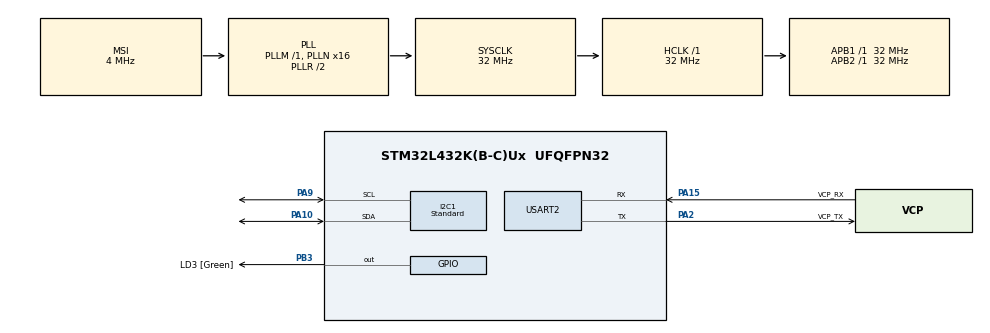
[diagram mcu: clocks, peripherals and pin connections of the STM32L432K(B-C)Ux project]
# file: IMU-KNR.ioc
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I2C1.I2C_Speed_Mode=I2C_Standard
I2C1.Timing=0x00707CBB
Mcu.Family=STM32L4
Mcu.Name=STM32L432K(B-C)Ux
Mcu.Package=UFQFPN32
NVIC.PriorityGroup=NVIC_PRIORITYGROUP_4
PA0.GPIO_Label=MCO [High speed clock in]
PA0.Mode=HSE-External-Clock-Source-for-LittleOrca
PA0.Signal=RCC_CK_IN
PA10.Mode=I2C
PA10.Signal=I2C1_SDA
PA13\ (JTMS-SWDIO).GPIO_Label=SWDIO
PA13\ (JTMS-SWDIO).Mode=Serial_Wire
PA13\ (JTMS-SWDIO).Signal=SYS_JTMS-SWDIO
PA14\ (JTCK-SWCLK).GPIO_Label=SWCLK
PA14\ (JTCK-SWCLK).Mode=Serial_Wire
PA14\ (JTCK-SWCLK).Signal=SYS_JTCK-SWCLK
PA15\ (JTDI).GPIO_Label=VCP_RX
PA15\ (JTDI).Mode=Asynchronous
PA15\ (JTDI).Signal=USART2_RX
PA2.GPIO_Label=VCP_TX
PA2.Mode=Asynchronous
PA2.Signal=USART2_TX
PA9.Mode=I2C
PA9.Signal=I2C1_SCL
PB3\ (JTDO-TRACESWO).GPIO_Label=LD3 [Green]
PB3\ (JTDO-TRACESWO).Signal=GPIO_Output
PC14-OSC32_IN\ (PC14).Mode=LSE-External-Oscillator
PC14-OSC32_IN\ (PC14).Signal=RCC_OSC32_IN
PC15-OSC32_OUT\ (PC15).Mode=LSE-External-Oscillator
PC15-OSC32_OUT\ (PC15).Signal=RCC_OSC32_OUT
ProjectManager.HeapSize=0x200
ProjectManager.StackSize=0x400
ProjectManager.TargetToolchain=STM32CubeIDE
RCC.AHBFreq_Value=32000000
RCC.APB1Freq_Value=32000000
RCC.APB1TimFreq_Value=32000000
RCC.APB2Freq_Value=32000000
RCC.APB2TimFreq_Value=32000000
RCC.CortexFreq_Value=32000000
RCC.HCLKFreq_Value=32000000
RCC.HSE_VALUE=8000000
RCC.HSI16_VALUE=16000000
RCC.HSI48_VALUE=48000000
RCC.HSI_VALUE=16000000
RCC.MSI_VALUE=4000000
RCC.PLLMUL=RCC_PLLMUL_4
RCC.PLLN=16
RCC.SYSCLKFreq_VALUE=32000000
RCC.SYSCLKSource=RCC_SYSCLKSOURCE_PLLCLK
RCC.VCOOutputFreq_Value=64000000
USART2.VirtualMode-Asynchronous=VM_ASYNC
board=NUCLEO-L432KC

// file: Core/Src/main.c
/* USER CODE BEGIN Header */
/**
  ******************************************************************************
  * @file           : main.c
  * @brief          : Main program body
  ******************************************************************************
  * @attention
  *
  * Copyright (c) 2024 STMicroelectronics.
  * All rights reserved.
  *
  * This software is licensed under terms that can be found in the LICENSE file
  * in the root directory of this software component.
  * If no LICENSE file comes with this software, it is provided AS-IS.
  *
  ******************************************************************************
  */
/* USER CODE END Header */
#include "main.h"
#include "i2c.h"
#include "usart.h"
#include "gpio.h"

/* USER CODE BEGIN Includes */
#include "MPU-6050.h"
#include "stdio.h"
/* USER CODE END Includes */

void SystemClock_Config(void);

/* USER CODE BEGIN 0 */

int __io_putchar(int ch)
{
	if(ch == '\n')
	{
		uint8_t ch2 = '\r';
		HAL_UART_Transmit(&huart2, &ch2, 1, HAL_MAX_DELAY);
	}
	HAL_UART_Transmit(&huart2, (uint8_t*)&ch, 1, HAL_MAX_DELAY);
	return 1;
}

/* USER CODE END 0 */

int main(void)
{
  /* USER CODE BEGIN 1 */
uint8_t A_SEL = 0; //zakres akcelerometru
uint8_t G_SEL = 0; //zakres zyroskopu
uint16_t timestamp = 50; //krok czasowy, w milisekundach
float ACCEL[3];
float GYRO[3];
//float OFFSET_ACCEL[3];
//float OFFSET_GYRO[3];
  /* USER CODE END 1 */

  /* MCU Configuration--------------------------------------------------------*/

  /* Reset of all peripherals, Initializes the Flash interface and the Systick. */
  HAL_Init();

  /* Configure the system clock */
  SystemClock_Config();

  /* Initialize all configured peripherals */
  MX_GPIO_Init();
  MX_USART2_UART_Init();
  MX_I2C1_Init();
  /* USER CODE BEGIN 2 */
  //MPU6050_Reset();
  MPU6050_Init();
  MPU6050_Config(A_SEL,G_SEL);
 // printf("\nkrok czasowy %d [ms]\nA_SEL = %d\nG_SEL = %d\n\r",timestamp,A_SEL,G_SEL);
  //MPU6050_SELF_TEST(OFFSET_ACCEL, OFFSET_GYRO);
  /* USER CODE END 2 */

  /* Infinite loop */
  /* USER CODE BEGIN WHILE */
  uint64_t time_past;
  time_past = 0;
  while (1)
  {
    /* USER CODE END WHILE */

	  MPU6050_ACCEL_Read(ACCEL, A_SEL);
	  MPU6050_GYRO_Read(GYRO, G_SEL);
	  printf("%.2f,%.2f,%.2f,%.2f,%.2f,%.2f,%d\n" ,ACCEL[0],ACCEL[1],ACCEL[2],GYRO[0],GYRO[1],GYRO[2],time_past);
	  //printf("%f  °C\n\r", MPU6050_TEMP_Read_Celsius());
	  time_past += timestamp;
	  HAL_Delay(timestamp);

  }
}

void SystemClock_Config(void)
{
  RCC_OscInitTypeDef RCC_OscInitStruct = {0};
  RCC_ClkInitTypeDef RCC_ClkInitStruct = {0};

  /** Configure the main internal regulator output voltage
  */
  if (HAL_PWREx_ControlVoltageScaling(PWR_REGULATOR_VOLTAGE_SCALE1) != HAL_OK)
  {
    Error_Handler();
  }

  /** Configure LSE Drive Capability
  */
  HAL_PWR_EnableBkUpAccess();
  __HAL_RCC_LSEDRIVE_CONFIG(RCC_LSEDRIVE_LOW);

  /** Initializes the RCC Oscillators according to the specified parameters
  * in the RCC_OscInitTypeDef structure.
  */
  RCC_OscInitStruct.OscillatorType = RCC_OSCILLATORTYPE_LSE|RCC_OSCILLATORTYPE_MSI;
  RCC_OscInitStruct.LSEState = RCC_LSE_ON;
  RCC_OscInitStruct.MSIState = RCC_MSI_ON;
  RCC_OscInitStruct.MSICalibrationValue = 0;
  RCC_OscInitStruct.MSIClockRange = RCC_MSIRANGE_6;
  RCC_OscInitStruct.PLL.PLLState = RCC_PLL_ON;
  RCC_OscInitStruct.PLL.PLLSource = RCC_PLLSOURCE_MSI;
  RCC_OscInitStruct.PLL.PLLM = 1;
  RCC_OscInitStruct.PLL.PLLN = 16;
  RCC_OscInitStruct.PLL.PLLP = RCC_PLLP_DIV7;
  RCC_OscInitStruct.PLL.PLLQ = RCC_PLLQ_DIV2;
  RCC_OscInitStruct.PLL.PLLR = RCC_PLLR_DIV2;
  if (HAL_RCC_OscConfig(&RCC_OscInitStruct) != HAL_OK)
  {
    Error_Handler();
  }

  /** Initializes the CPU, AHB and APB buses clocks
  */
  RCC_ClkInitStruct.ClockType = RCC_CLOCKTYPE_HCLK|RCC_CLOCKTYPE_SYSCLK
                              |RCC_CLOCKTYPE_PCLK1|RCC_CLOCKTYPE_PCLK2;
  RCC_ClkInitStruct.SYSCLKSource = RCC_SYSCLKSOURCE_PLLCLK;
  RCC_ClkInitStruct.AHBCLKDivider = RCC_SYSCLK_DIV1;
  RCC_ClkInitStruct.APB1CLKDivider = RCC_HCLK_DIV1;
  RCC_ClkInitStruct.APB2CLKDivider = RCC_HCLK_DIV1;

  if (HAL_RCC_ClockConfig(&RCC_ClkInitStruct, FLASH_LATENCY_1) != HAL_OK)
  {
    Error_Handler();
  }

  /** Enable MSI Auto calibration
  */
  HAL_RCCEx_EnableMSIPLLMode();
}

void Error_Handler(void)
{
  __disable_irq();
  while (1)
  {
  }
}
